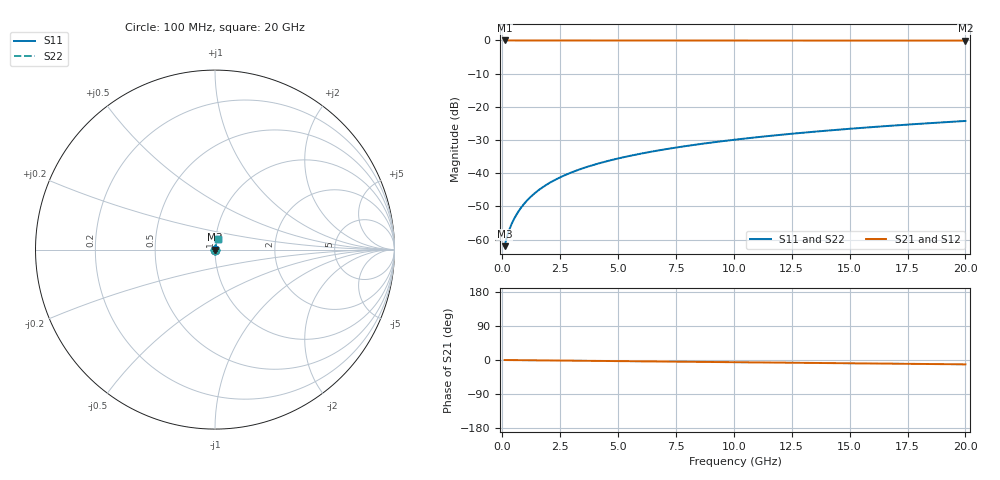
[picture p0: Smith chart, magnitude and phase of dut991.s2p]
! Touchstone file exported from HFSS 2026.1.0
!  File:  C:/ffzhzh/LocalFiles/Ansys_Project_Files/temp_train_TMRDL_991_1783159362_51560.aedt
!  Generated:  06:03:52 PM Jul  4, 2026
!  Design:  TMRDL
!  Project:  temp_train_TMRDL_991_1783159362_51560
! Variables:
!  h_bsmrdl = 2um
!  h_ox = 20um
!  h_rdl = 5um
!  h_sub = 80um
!  h_tmrdl = 5.02um
!  h_tsv = 80um
!  h_via = 3um
!  l_bsmrdl = 300um
!  l_sub = 573.57um
!  l_tmrdl = 173.57um
!  m_sub = 200um
!  pitch = 37.5um
!  r_tsv = 6um
!  s_tmrdl = 10um
!  w_bsmrdl = 18um
!  w_sub = 500um
!  w_tmrdl = 25.74um
!  x_tsv_center1 = 186.44um
!  x_tsv_center2 = 504.44um
!  x_tsv_center3 = 703.75um
!  x_tsv_center4 = 1021.75um
!  x_tsv_center5 = 1221.06um
!  x_tsv_center6 = 1539.06um
# GHz S MA R 50.000000
! Terminal data exported
! Port[1] = TM_RDL1_1_T1
! Port[2] = TM_RDL1_1_T2
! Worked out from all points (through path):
!   200 points, 100 MHz to 20 GHz, reference 50 ohm
!   highest |S21| = -0.01 dB at 100 MHz (marker M1); lowest = -0.1 dB at 20 GHz (marker M2)
!   group delay of S21, straight-line fit = 1.59 ps
!   lowest |S11| = -62.0 dB at 100 MHz (marker M3), VSWR 1.00, Z = 50.1 + j0.0441 ohm
!   |S11| at or under -10 dB: start of sweep to end of sweep
!   |S22| runs from -62.0 to -24.3 dB; largest |S21 - S12| = 2e-15
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0.1  0.0007943 33.7  0.9993 -0.1  0.9993 -0.1  0.0007943 33.7
! Gamma 0 0 0 0
! Port Impedance 50 0 50 0
0.2  0.001099 48.1  0.9993 -0.1  0.9993 -0.1  0.001099 48.1
0.3  0.001403 55.8  0.9992 -0.2  0.9992 -0.2  0.001403 55.8
0.4  0.001707 61.1  0.9992 -0.2  0.9992 -0.2  0.001707 61.1
0.5  0.002017 65.0  0.9992 -0.3  0.9992 -0.3  0.002017 65.0
0.6  0.002334 68.0  0.9991 -0.4  0.9991 -0.4  0.002334 68.0
0.8  0.002984 72.1  0.9991 -0.5  0.9991 -0.5  0.002984 72.1
1  0.003646 74.7  0.9991 -0.6  0.9991 -0.6  0.003646 74.7
1.2  0.004315 76.4  0.999 -0.7  0.999 -0.7  0.004315 76.4
1.4  0.004987 77.6  0.999 -0.8  0.999 -0.8  0.004987 77.6
1.7  0.005995 78.8  0.9989 -1.0  0.9989 -1.0  0.005995 78.8
2.2  0.007666 79.9  0.9988 -1.3  0.9988 -1.3  0.007666 79.9
2.8  0.009645 80.4  0.9986 -1.7  0.9986 -1.7  0.009645 80.4
3.5  0.01191 80.6  0.9984 -2.1  0.9984 -2.1  0.01191 80.6
4.2  0.01414 80.6  0.9982 -2.5  0.9982 -2.5  0.01414 80.6
5  0.01665 80.4  0.9979 -2.9  0.9979 -2.9  0.01665 80.4
6.8  0.02219 80.0  0.9974 -4.0  0.9974 -4.0  0.02219 80.0
8.3  0.02673 79.5  0.997 -4.8  0.997 -4.8  0.02673 79.5
10.1  0.03213 78.9  0.9966 -5.9  0.9966 -5.9  0.03213 78.9
13.4  0.04193 77.6  0.9957 -7.7  0.9957 -7.7  0.04193 77.6
16.7  0.05161 76.1  0.9948 -9.6  0.9948 -9.6  0.05161 76.1
20  0.06117 74.6  0.9939 -11.5  0.9939 -11.5  0.06117 74.6
